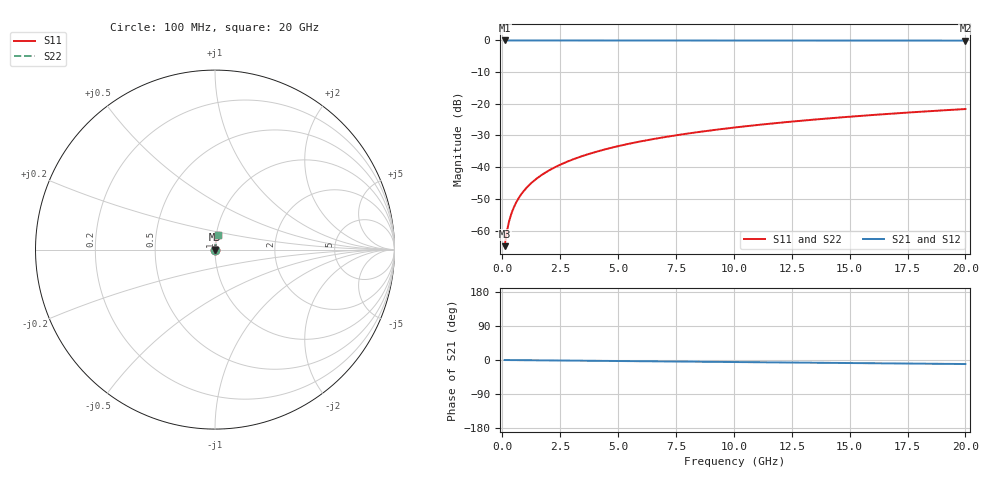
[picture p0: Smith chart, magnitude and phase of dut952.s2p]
! Touchstone file exported from HFSS 2026.1.0
!  File:  C:/ffzhzh/LocalFiles/Ansys_Project_Files/temp_train_TSV_952_1783187301_22436.aedt
!  Generated:  01:50:00 AM Jul  5, 2026
!  Design:  TSV
!  Project:  temp_train_TSV_952_1783187301_22436
! Variables:
!  h_bsmrdl = 2um
!  h_ox = 20um
!  h_rdl = 5um
!  h_sub = 94.29um
!  h_tmrdl = 5um
!  h_tsv = 94.29um
!  h_via = 3um
!  l_bsmrdl = 300um
!  l_sub = 412.16um
!  l_tmrdl = 200um
!  m_sub = 200um
!  pitch = 49.55um
!  r_tsv = 6.08um
!  s_tmrdl = 10um
!  w_bsmrdl = 18um
!  w_sub = 500um
!  w_tmrdl = 12um
!  x_tsv_center1 = 206um
!  x_tsv_center2 = 524um
!  x_tsv_center3 = 736um
!  x_tsv_center4 = 1054um
!  x_tsv_center5 = 1266um
!  x_tsv_center6 = 1584um
# GHz S MA R 50.000000
! Terminal data exported
! Port[1] = TSV1_1_T1
! Port[2] = TSV1_1_T2
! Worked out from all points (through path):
!   200 points, 100 MHz to 20 GHz, reference 50 ohm
!   highest |S21| = 0.00 dB at 100 MHz (marker M1); lowest = 0.0 dB at 20 GHz (marker M2)
!   group delay of S21, straight-line fit = 1.48 ps
!   lowest |S11| = -64.9 dB at 100 MHz (marker M3), VSWR 1.00, Z = 50 + j0.0465 ohm
!   |S11| at or under -10 dB: start of sweep to end of sweep
!   |S22| runs from -64.9 to -21.6 dB; largest |S21 - S12| = 3.8e-15
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0.1  0.0005665 55.1  0.9997 -0.1  0.9997 -0.1  0.0005665 55.1
! Gamma 0 0 0 0
! Port Impedance 50 0 50 0
0.2  0.0009859 70.1  0.9997 -0.1  0.9997 -0.1  0.0009859 70.1
0.3  0.001431 75.8  0.9997 -0.2  0.9997 -0.2  0.001431 75.8
0.4  0.00188 78.5  0.9996 -0.2  0.9996 -0.2  0.00188 78.5
0.5  0.002328 80.1  0.9996 -0.3  0.9996 -0.3  0.002328 80.1
0.6  0.002774 81.2  0.9996 -0.3  0.9996 -0.3  0.002774 81.2
0.7  0.003216 81.9  0.9996 -0.4  0.9996 -0.4  0.003216 81.9
0.8  0.003655 82.4  0.9995 -0.4  0.9995 -0.4  0.003655 82.4
1  0.004526 83.1  0.9995 -0.6  0.9995 -0.6  0.004526 83.1
1.4  0.006247 83.9  0.9994 -0.8  0.9994 -0.8  0.006247 83.9
1.7  0.007529 84.3  0.9993 -0.9  0.9993 -0.9  0.007529 84.3
2  0.008807 84.5  0.9993 -1.1  0.9993 -1.1  0.008807 84.5
2.7  0.01178 84.8  0.9992 -1.5  0.9992 -1.5  0.01178 84.8
3.5  0.01516 84.8  0.999 -1.9  0.999 -1.9  0.01516 84.8
4.2  0.0181 84.7  0.9989 -2.3  0.9989 -2.3  0.0181 84.7
5  0.02145 84.5  0.9987 -2.7  0.9987 -2.7  0.02145 84.5
6.8  0.02893 83.9  0.9983 -3.7  0.9983 -3.7  0.02893 83.9
8.3  0.03514 83.3  0.998 -4.5  0.998 -4.5  0.03514 83.3
10.1  0.04255 82.6  0.9976 -5.4  0.9976 -5.4  0.04255 82.6
13.4  0.05607 81.1  0.9967 -7.2  0.9967 -7.2  0.05607 81.1
16.7  0.06946 79.5  0.9957 -8.9  0.9957 -8.9  0.06946 79.5
20  0.08271 77.9  0.9945 -10.7  0.9945 -10.7  0.08271 77.9
